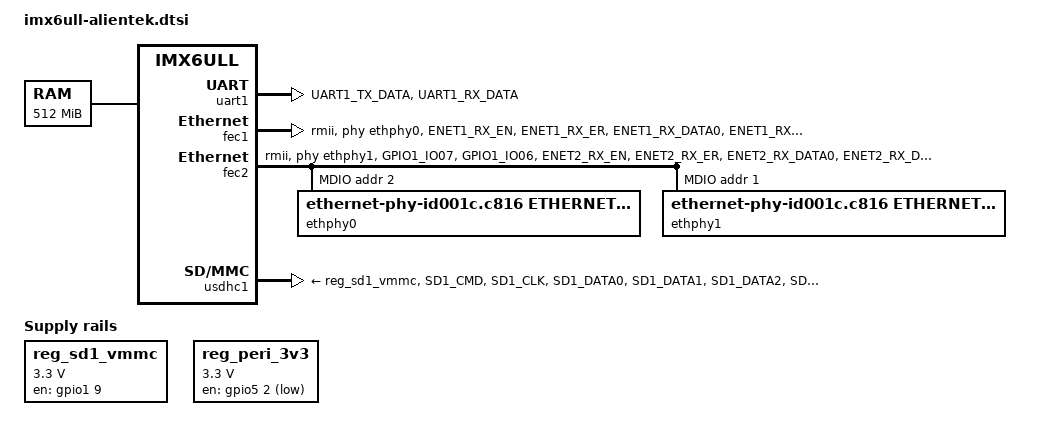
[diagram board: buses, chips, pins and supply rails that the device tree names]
// SPDX-License-Identifier: GPL-2.0
//
// Copyright (C) 2024 ALIEWNTEK
// i.MX6ULL ALIENTEK Board - DTSI
// Only SOC interfaces + Ethernet, add peripherals incrementally.

/ {
	chosen {
		stdout-path = &uart1;
	};

	memory@80000000 {
		device_type = "memory";
		reg = <0x80000000 0x20000000>;
	};

	reg_sd1_vmmc: regulator-sd1-vmmc {
		compatible = "regulator-fixed";
		regulator-name = "VSD_3V3";
		regulator-min-microvolt = <3300000>;
		regulator-max-microvolt = <3300000>;
		gpio = <&gpio1 9 GPIO_ACTIVE_HIGH>;
		enable-active-high;
	};

	reg_peri_3v3: regulator-peri-3v3 {
		compatible = "regulator-fixed";
		pinctrl-names = "default";
		pinctrl-0 = <&pinctrl_peri_3v3>;
		regulator-name = "VPERI_3V3";
		regulator-min-microvolt = <3300000>;
		regulator-max-microvolt = <3300000>;
		gpio = <&gpio5 2 GPIO_ACTIVE_LOW>;
		regulator-always-on;
	};
};


&uart1 {
	pinctrl-names = "default";
	pinctrl-0 = <&pinctrl_uart1>;
	status = "okay";
};


&fec1 {
	pinctrl-names = "default";
	pinctrl-0 = <&pinctrl_enet1 &pinctrl_enet1_reset>;
	phy-mode = "rmii";
	phy-handle = <&ethphy0>;
	phy-reset-gpios = <&gpio5 7 GPIO_ACTIVE_LOW>;
	phy-reset-duration = <200>;
	status = "okay";
};

&fec2 {
	pinctrl-names = "default";
	pinctrl-0 = <&pinctrl_enet2 &pinctrl_enet2_reset>;
	phy-mode = "rmii";
	phy-handle = <&ethphy1>;
	phy-reset-gpios = <&gpio5 8 GPIO_ACTIVE_LOW>;
	phy-reset-duration = <200>;
	status = "okay";

	mdio {
		#address-cells = <1>;
		#size-cells = <0>;

		ethphy0: ethernet-phy@2 {
			compatible = "ethernet-phy-id001c.c816,ethernet-phy-ieee802.3-c22";
			reg = <2>;
		};

		ethphy1: ethernet-phy@1 {
			compatible = "ethernet-phy-id001c.c816,ethernet-phy-ieee802.3-c22";
			reg = <1>;
		};
	};
};

&usdhc1 {
	pinctrl-names = "default", "state_100mhz", "state_200mhz";
	pinctrl-0 = <&pinctrl_usdhc1>;
	pinctrl-1 = <&pinctrl_usdhc1_100mhz>;
	pinctrl-2 = <&pinctrl_usdhc1_200mhz>;
	cd-gpios = <&gpio1 19 GPIO_ACTIVE_LOW>;
	keep-power-in-suspend;
	wakeup-source;
	vmmc-supply = <&reg_sd1_vmmc>;
	no-1-8-v;
	status = "okay";
};

&wdog1 {
	pinctrl-names = "default";
	pinctrl-0 = <&pinctrl_wdog>;
	fsl,ext-reset-output;
};

&iomuxc {
	pinctrl-names = "default";

	pinctrl_enet1: enet1grp {
		fsl,pins = <
			MX6UL_PAD_ENET1_RX_EN__ENET1_RX_EN	0x1b0b0
			MX6UL_PAD_ENET1_RX_ER__ENET1_RX_ER	0x1b0b0
			MX6UL_PAD_ENET1_RX_DATA0__ENET1_RDATA00	0x1b0b0
			MX6UL_PAD_ENET1_RX_DATA1__ENET1_RDATA01	0x1b0b0
			MX6UL_PAD_ENET1_TX_EN__ENET1_TX_EN	0x1b0b0
			MX6UL_PAD_ENET1_TX_DATA0__ENET1_TDATA00	0x1b0b0
			MX6UL_PAD_ENET1_TX_DATA1__ENET1_TDATA01	0x1b0b0
			MX6UL_PAD_ENET1_TX_CLK__ENET1_REF_CLK1	0x4001b031
		>;
	};

	pinctrl_enet2: enet2grp {
		fsl,pins = <
			MX6UL_PAD_GPIO1_IO07__ENET2_MDC		0x1b0b0
			MX6UL_PAD_GPIO1_IO06__ENET2_MDIO	0x1b0b0
			MX6UL_PAD_ENET2_RX_EN__ENET2_RX_EN	0x1b0b0
			MX6UL_PAD_ENET2_RX_ER__ENET2_RX_ER	0x1b0b0
			MX6UL_PAD_ENET2_RX_DATA0__ENET2_RDATA00	0x1b0b0
			MX6UL_PAD_ENET2_RX_DATA1__ENET2_RDATA01	0x1b0b0
			MX6UL_PAD_ENET2_TX_EN__ENET2_TX_EN	0x1b0b0
			MX6UL_PAD_ENET2_TX_DATA0__ENET2_TDATA00	0x1b0b0
			MX6UL_PAD_ENET2_TX_DATA1__ENET2_TDATA01	0x1b0b0
			MX6UL_PAD_ENET2_TX_CLK__ENET2_REF_CLK2	0x4001b031
		>;
	};

	pinctrl_enet1_reset: enetreset1grp {
		fsl,pins = <
			MX6UL_PAD_SNVS_TAMPER7__GPIO5_IO07	0x10b0
		>;
	};

	pinctrl_enet2_reset: enetreset2grp {
		fsl,pins = <
			MX6UL_PAD_SNVS_TAMPER8__GPIO5_IO08	0x10b0
		>;
	};

	pinctrl_uart1: uart1grp {
		fsl,pins = <
			MX6UL_PAD_UART1_TX_DATA__UART1_DCE_TX	0x1b0b1
			MX6UL_PAD_UART1_RX_DATA__UART1_DCE_RX	0x1b0b1
		>;
	};

	pinctrl_usdhc1: usdhc1grp {
		fsl,pins = <
			MX6UL_PAD_SD1_CMD__USDHC1_CMD		0x17059
			MX6UL_PAD_SD1_CLK__USDHC1_CLK		0x10059
			MX6UL_PAD_SD1_DATA0__USDHC1_DATA0	0x17059
			MX6UL_PAD_SD1_DATA1__USDHC1_DATA1	0x17059
			MX6UL_PAD_SD1_DATA2__USDHC1_DATA2	0x17059
			MX6UL_PAD_SD1_DATA3__USDHC1_DATA3	0x17059
			MX6UL_PAD_UART1_RTS_B__GPIO1_IO19	0x17059
			MX6UL_PAD_GPIO1_IO09__GPIO1_IO09	0x17059
		>;
	};

	pinctrl_usdhc1_100mhz: usdhc1grp100mhz {
		fsl,pins = <
			MX6UL_PAD_SD1_CMD__USDHC1_CMD     0x170b9
			MX6UL_PAD_SD1_CLK__USDHC1_CLK     0x100b9
			MX6UL_PAD_SD1_DATA0__USDHC1_DATA0 0x170b9
			MX6UL_PAD_SD1_DATA1__USDHC1_DATA1 0x170b9
			MX6UL_PAD_SD1_DATA2__USDHC1_DATA2 0x170b9
			MX6UL_PAD_SD1_DATA3__USDHC1_DATA3 0x170b9
		>;
	};

	pinctrl_usdhc1_200mhz: usdhc1grp200mhz {
		fsl,pins = <
			MX6UL_PAD_SD1_CMD__USDHC1_CMD     0x170f9
			MX6UL_PAD_SD1_CLK__USDHC1_CLK     0x100f9
			MX6UL_PAD_SD1_DATA0__USDHC1_DATA0 0x170f9
			MX6UL_PAD_SD1_DATA1__USDHC1_DATA1 0x170f9
			MX6UL_PAD_SD1_DATA2__USDHC1_DATA2 0x170f9
			MX6UL_PAD_SD1_DATA3__USDHC1_DATA3 0x170f9
		>;
	};

	pinctrl_peri_3v3: peri3v3grp {
		fsl,pins = <
			MX6UL_PAD_SNVS_TAMPER2__GPIO5_IO02	0x1b0b0
		>;
	};

	pinctrl_wdog: wdoggrp {
		fsl,pins = <
			MX6UL_PAD_LCD_RESET__WDOG1_WDOG_ANY	0x30b0
		>;
	};
};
